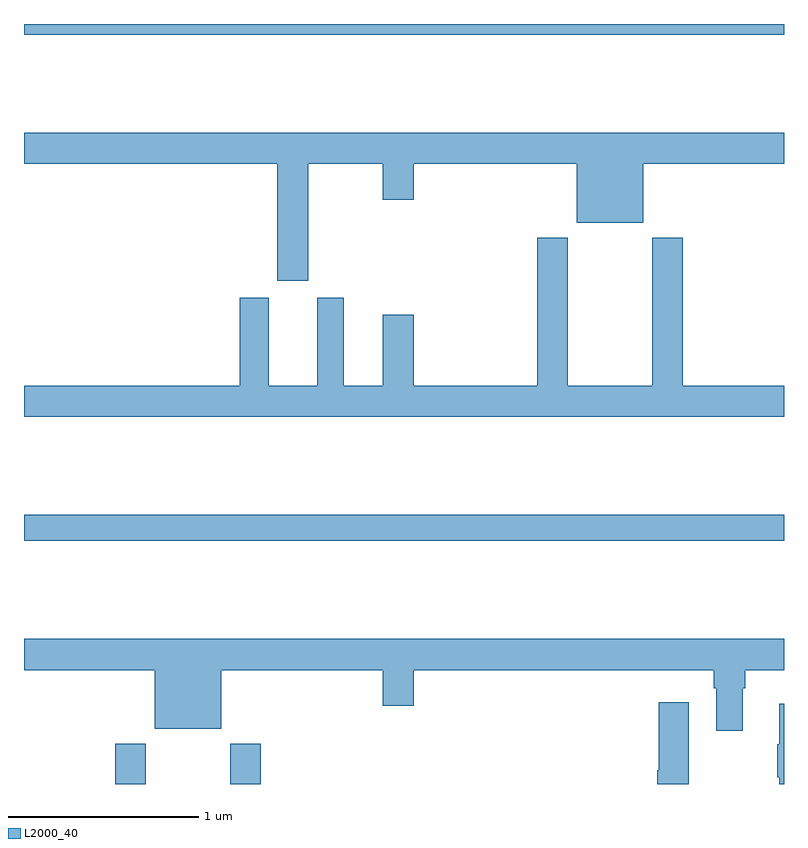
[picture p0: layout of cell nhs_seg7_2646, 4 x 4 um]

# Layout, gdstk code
import gdstk
lib = gdstk.Library(unit=1e-6, precision=1e-09)
def R(c, l, rs):  # rectangles x0, y0, x1, y1
    for r in rs: c.add(gdstk.rectangle(r[:2], r[2:], *l))
def P(c, l, *ps):  # polygons
    for p in ps: c.add(gdstk.Polygon(p, *l))
L2000_40 = (2000, 40)

nhs_seg7_2646 = lib.new_cell('nhs_seg7_2646')
R(nhs_seg7_2646, L2000_40, [(283.481,1016,283.641,1016.212), (284.086,1016,284.246,1016.212), (283,1017.28,287,1017.416), (283,1019.944,287,1020)])
P(nhs_seg7_2646, L2000_40, [(284.497,1019.264),(284.888,1019.264),(284.888,1019.076),(285.052,1019.076),(285.052,1019.264),(285.908,1019.264),(285.908,1018.955),(286.258,1018.955),(286.258,1019.264),(287,1019.264),(287,1019.428),(283,1019.428),(283,1019.264),(284.333,1019.264),(284.333,1018.65),(284.497,1018.65)],
  [(287,1018.096),(286.466,1018.096),(286.466,1018.876),(286.306,1018.876),(286.306,1018.096),(285.861,1018.096),(285.861,1018.876),(285.701,1018.876),(285.701,1018.096),(285.052,1018.096),(285.052,1018.471),(284.888,1018.471),(284.888,1018.096),(284.683,1018.096),(284.683,1018.558),(284.543,1018.558),(284.543,1018.096),(284.287,1018.096),(284.287,1018.558),(284.135,1018.558),(284.135,1018.096),(283,1018.096),(283,1017.932),(287,1017.932)],
  [(286.783,1016.504),(286.796,1016.504),(286.796,1016.6),(287,1016.6),(287,1016.764),(283,1016.764),(283,1016.6),(283.688,1016.6),(283.688,1016.291),(284.038,1016.291),(284.038,1016.6),(284.888,1016.6),(284.888,1016.412),(285.052,1016.412),(285.052,1016.6),(286.631,1016.6),(286.631,1016.504),(286.643,1016.504),(286.643,1016.28),(286.783,1016.28)],
  [(286.498,1016.431),(286.34,1016.431),(286.34,1016.073),(286.334,1016.073),(286.334,1016),(286.498,1016)],
  [(287,1016.422),(286.976,1016.422),(286.976,1016.209),(286.965,1016.209),(286.965,1016.035),(286.976,1016.035),(286.976,1016),(287,1016)])

lib.write_gds('nhs_seg7_2646.gds')
